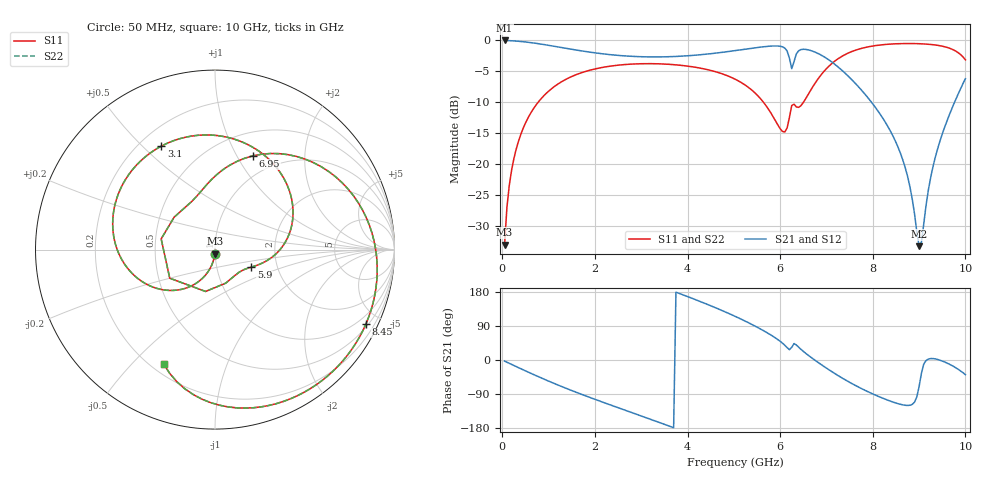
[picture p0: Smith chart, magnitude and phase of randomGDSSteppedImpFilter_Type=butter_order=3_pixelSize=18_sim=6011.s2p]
! freq	dB(S11)	phase(S11)	dB(S12)	phase(S12)
!  dB(S21)	phase(S21)	dB(S22)	phase(S22)
!S-par simulation data
#  GHz  S  DB  R 50
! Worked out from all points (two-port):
!   200 points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, 50 MHz to 10 GHz, reference 50 ohm
!   highest |S21| = 0.00 dB at 50 MHz (marker M1); lowest = -33.2 dB at 9 GHz (marker M2)
!   |S21| within 3 dB of the highest: start of sweep to 6.204 GHz; 6.316 GHz to 7.025 GHz (708.5 MHz wide, 10.6 % of centre)
!   lowest |S11| = -32.9 dB at 50 MHz (marker M3), VSWR 1.05, Z = 49.8 - j2.24 ohm
!   |S11| at or under -10 dB: start of sweep to 772.5 MHz; 5.641 GHz to 6.501 GHz (859.7 MHz wide, 14.2 % of centre)
!   |S22| runs from -32.9 to -0.5 dB; largest |S21 - S12| = 0
!   S11 on the Smith chart (normalised r, x): 50 MHz: 1.00, -0.04; 3.1 GHz: 0.29, +0.57; 5.9 GHz: 1.47, -0.30; 6.95 GHz: 0.76, +1.17; 8.45 GHz: 0.61, -4.18; 10 GHz: 0.25, -0.62
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0.05  -32.94 -92.9  -0.00 -2.9  -0.00 -2.9  -32.94 -92.9
0.2  -20.98 -102.0  -0.05 -11.6  -0.05 -11.6  -20.98 -102.0
0.5  -13.35 -119.3  -0.25 -28.7  -0.25 -28.7  -13.35 -119.3
1.1  -7.58 -151.4  -0.92 -60.9  -0.92 -60.9  -7.58 -151.4
1.75  -5.11 177.0  -1.74 -92.4  -1.74 -92.4  -5.11 177.0
3.1  -3.75 117.5  -2.65 -152.0  -2.65 -152.0  -3.75 117.5
3.4  -3.78 104.4  -2.66 -165.2  -2.66 -165.2  -3.78 104.4
4.3  -4.51 63.3  -2.30 153.1  -2.30 153.1  -4.51 63.3
5.05  -6.34 25.5  -1.62 114.0  -1.62 114.0  -6.34 25.5
5.9  -12.99 -25.9  -0.89 58.1  -0.89 58.1  -12.99 -25.9
6.2  -12.42 -102.7  -2.87 27.3  -2.87 27.3  -12.43 -102.7
6.3  -10.29 168.7  -3.41 43.4  -3.41 43.4  -10.29 168.7
6.45  -10.52 115.7  -1.48 28.0  -1.48 28.0  -10.52 115.7
6.7  -7.54 88.4  -1.73 4.0  -1.73 4.0  -7.54 88.3
6.95  -4.97 67.9  -2.65 -17.4  -2.65 -17.4  -4.97 67.8
7.7  -1.40 15.0  -7.55 -71.9  -7.55 -71.9  -1.40 15.0
8.35  -0.61 -21.3  -14.21 -107.2  -14.21 -107.2  -0.61 -21.3
8.45  -0.56 -26.4  -15.65 -111.6  -15.65 -111.6  -0.56 -26.4
8.75  -0.50 -41.2  -21.90 -119.9  -21.90 -119.9  -0.50 -41.2
9  -0.53 -53.3  -33.21 -70.4  -33.21 -70.4  -0.53 -53.3
9.4  -0.79 -73.7  -17.50 1.4  -17.50 1.4  -0.79 -73.7
10  -3.14 -114.3  -6.18 -38.6  -6.18 -38.6  -3.14 -114.3
